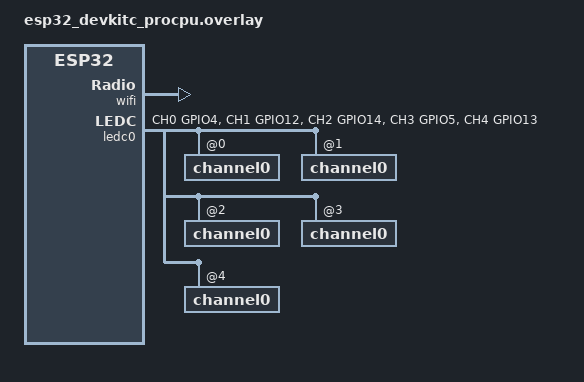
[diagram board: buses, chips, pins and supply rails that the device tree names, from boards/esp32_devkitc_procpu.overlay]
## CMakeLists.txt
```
# SPDX-License-Identifier: Apache-2.0

cmake_minimum_required(VERSION 3.20.0)

find_package(Zephyr REQUIRED HINTS $ENV{ZEPHYR_BASE})
project(hermes_light)

target_sources(app PRIVATE src/light.c)
```

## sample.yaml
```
sample:
  description: Hermes light controller sample with CoAP communication
  name: Hermes Light Controller
tests:
  sample.hermes.light:
    build_only: true
    platform_allow:
      - esp32c3_devkitm
      - esp32_devkitc/esp32/procpu
      - esp32c6_devkitc/esp32c6/hpcore
      - nucleo_f429zi
```

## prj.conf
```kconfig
# Logging
CONFIG_LOG=y
CONFIG_LOG_MAX_LEVEL=1
CONFIG_LOG_MODE_MINIMAL=n
CONFIG_BOOT_BANNER=y
CONFIG_LOG_BACKEND_UART=y

# Kernel options
CONFIG_MAIN_STACK_SIZE=2560
CONFIG_INIT_STACKS=y

CONFIG_SYSTEM_WORKQUEUE_STACK_SIZE=3072

# Network
CONFIG_NETWORKING=y
CONFIG_NET_CONFIG_SETTINGS=y

# Libraries
CONFIG_JSON_LIBRARY=y
CONFIG_COAP=y
CONFIG_COAP_CLIENT=y
CONFIG_COAP_SERVER=y

CONFIG_EVENTS=y
CONFIG_SMF=y

# Hermes
CONFIG_HERMES=y
CONFIG_LIGHT=y
CONFIG_LIGHT_SHELL=y

CONFIG_HERMES_SHELL=y

CONFIG_FLASH=y
CONFIG_FLASH_MAP=y
CONFIG_NVS=y
CONFIG_SETTINGS=y
```

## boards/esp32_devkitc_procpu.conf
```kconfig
CONFIG_WIFI=y
CONFIG_INIT_STACKS=y
CONFIG_NET_L2_WIFI_MGMT=y


CONFIG_SHELL=y
CONFIG_LOG_BACKEND_UART=n
CONFIG_NET_SHELL=y
CONFIG_NET_IPV4=y
CONFIG_NET_DHCPV4=y
CONFIG_NET_CONFIG_SETTINGS=y

CONFIG_PWM=y

#CONFIG_HEAP_MEM_POOL_SIZE=256

# Wi-Fi Configuration
CONFIG_WIFI=y

# Network Configuration
CONFIG_NET_CONFIG_AUTO_INIT=n
CONFIG_NET_CONNECTION_MANAGER=y
CONFIG_NET_DHCPV4=y
CONFIG_NET_DHCPV4_SERVER=y
CONFIG_NET_IF_MAX_IPV4_COUNT=2
CONFIG_NET_IF_MAX_IPV6_COUNT=2
CONFIG_NET_IPV4=y
CONFIG_NET_L2_ETHERNET=y
CONFIG_NET_L2_WIFI_MGMT=y
CONFIG_NET_MGMT=y
CONFIG_NET_MGMT_EVENT=y
CONFIG_NET_MGMT_EVENT_INFO=y
CONFIG_NET_MGMT_EVENT_QUEUE_SIZE=10
CONFIG_NET_MGMT_EVENT_STACK_SIZE=4096
CONFIG_NET_PKT_RX_COUNT=16
CONFIG_NET_PKT_TX_COUNT=16
CONFIG_NET_SOCKETS_SERVICE_STACK_SIZE=4096
CONFIG_NET_TCP=y
CONFIG_NET_UDP=y
CONFIG_NETWORKING=y

# LOG Configuration
CONFIG_NET_LOG=y
CONFIG_NET_DHCPV4_SERVER_LOG_LEVEL_DBG=y

CONFIG_ZVFS_EVENTFD_MAX=3
```

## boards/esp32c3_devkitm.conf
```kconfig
CONFIG_WIFI=y
CONFIG_INIT_STACKS=y
CONFIG_NET_L2_WIFI_MGMT=y


CONFIG_SHELL=y
CONFIG_LOG_BACKEND_UART=n
CONFIG_NET_SHELL=y
CONFIG_NET_IPV4=y
CONFIG_NET_DHCPV4=y
CONFIG_NET_CONFIG_SETTINGS=y

CONFIG_PWM=y

# Wi-Fi Configuration
CONFIG_WIFI=y

# Network Configuration
CONFIG_NET_CONFIG_AUTO_INIT=n
CONFIG_NET_CONNECTION_MANAGER=y
CONFIG_NET_DHCPV4=y
CONFIG_NET_DHCPV4_SERVER=y
CONFIG_NET_IF_MAX_IPV4_COUNT=2
CONFIG_NET_IF_MAX_IPV6_COUNT=2
CONFIG_NET_IPV4=y
CONFIG_NET_L2_ETHERNET=y
CONFIG_NET_L2_WIFI_MGMT=y
CONFIG_NET_MGMT=y
CONFIG_NET_MGMT_EVENT=y
CONFIG_NET_MGMT_EVENT_INFO=y
CONFIG_NET_MGMT_EVENT_QUEUE_SIZE=10
CONFIG_NET_MGMT_EVENT_STACK_SIZE=4096
CONFIG_NET_PKT_RX_COUNT=16
CONFIG_NET_PKT_TX_COUNT=16
CONFIG_NET_SOCKETS_SERVICE_STACK_SIZE=4096
CONFIG_NET_TCP=y
CONFIG_NET_UDP=y
CONFIG_NETWORKING=y

# LOG Configuration
CONFIG_NET_LOG=y
CONFIG_NET_DHCPV4_SERVER_LOG_LEVEL_DBG=y
```

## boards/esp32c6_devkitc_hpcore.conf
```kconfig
CONFIG_WIFI=y
CONFIG_INIT_STACKS=y
CONFIG_NET_L2_WIFI_MGMT=y


CONFIG_SHELL=y
CONFIG_LOG_BACKEND_UART=n
CONFIG_NET_SHELL=y
CONFIG_NET_IPV4=y
CONFIG_NET_DHCPV4=y
CONFIG_NET_CONFIG_SETTINGS=y

CONFIG_PWM=y

CONFIG_HEAP_MEM_POOL_SIZE=256

# Wi-Fi Configuration
CONFIG_WIFI=y

# Network Configuration
CONFIG_NET_CONFIG_AUTO_INIT=n
CONFIG_NET_CONNECTION_MANAGER=y
CONFIG_NET_DHCPV4=y
CONFIG_NET_DHCPV4_SERVER=y
CONFIG_NET_IF_MAX_IPV4_COUNT=2
CONFIG_NET_IF_MAX_IPV6_COUNT=2
CONFIG_NET_IPV4=y
CONFIG_NET_L2_ETHERNET=y
CONFIG_NET_L2_WIFI_MGMT=y
CONFIG_NET_MGMT=y
CONFIG_NET_MGMT_EVENT=y
CONFIG_NET_MGMT_EVENT_INFO=y
CONFIG_NET_MGMT_EVENT_QUEUE_SIZE=10
CONFIG_NET_MGMT_EVENT_STACK_SIZE=4096
CONFIG_NET_PKT_RX_COUNT=16
CONFIG_NET_PKT_TX_COUNT=16
CONFIG_NET_SOCKETS_SERVICE_STACK_SIZE=4096
CONFIG_NET_TCP=y
CONFIG_NET_UDP=y
CONFIG_NETWORKING=y

# LOG Configuration
CONFIG_NET_LOG=y
CONFIG_NET_DHCPV4_SERVER_LOG_LEVEL_DBG=y

CONFIG_ZVFS_EVENTFD_MAX=3
```

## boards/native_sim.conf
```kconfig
CONFIG_SHELL=y
CONFIG_UART_NATIVE_PTY_0_ON_STDINOUT=y

CONFIG_GPIO=y

CONFIG_NET_SHELL=y
CONFIG_NET_IPV4=y
CONFIG_NET_CONFIG_MY_IPV4_ADDR="192.0.2.1"
CONFIG_NET_CONFIG_SETTINGS=y
CONFIG_NET_CONFIG_NEED_IPV4=y
```

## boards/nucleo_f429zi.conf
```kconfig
CONFIG_SHELL=y
CONFIG_LOG_BACKEND_UART=n
CONFIG_NET_SHELL=y
CONFIG_NET_IPV4=y
CONFIG_NET_DHCPV4=y
```

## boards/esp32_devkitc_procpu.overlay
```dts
#include <zephyr/dt-bindings/pwm/pwm.h>

/ {
	pandora_device: pandora_device {
		compatible = "pandora,device";
		device-id = "pandora_light";
		heartbeat-interval = <60>;

		light1 {
			device_type = "light";
			compatible = "pandora,light-rgbct";
			pwms = <&ledc0 3 1000 PWM_POLARITY_NORMAL>,
				<&ledc0 4 1000 PWM_POLARITY_NORMAL>,
				<&ledc0 0 1000 PWM_POLARITY_NORMAL>,
				<&ledc0 1 1000 PWM_POLARITY_NORMAL>,
				<&ledc0 2 1000 PWM_POLARITY_NORMAL>;
			pwm-names = "red", "green", "blue",
				    "white_brightness", "color_temperature";
		};
	};

	discovery: discovery {
		compatible = "pandora,discovery";
		device = <&pandora_device>;
	};
};


&wifi {
	status = "okay";
};

&pinctrl {
	ledc0_default: ledc0_default {
		group1 {
			pinmux = <LEDC_CH0_GPIO4>,
				<LEDC_CH1_GPIO12>,
				<LEDC_CH2_GPIO14>,
				<LEDC_CH3_GPIO5>,
				<LEDC_CH4_GPIO13>;
			output-enable;
		};
	};
};

&ledc0 {
	pinctrl-0 = <&ledc0_default>;
	pinctrl-names = "default";
	status = "okay";
	#address-cells = <1>;
	#size-cells = <0>;
	channel0@0 {
		reg = <0x0>;
		timer = <0>;
	};
	channel0@1 {
		reg = <0x1>;
		timer = <0>;
	};
	channel0@2 {
		reg = <0x2>;
		timer = <0>;
	};
	channel0@3 {
		reg = <0x3>;
		timer = <0>;
	};
	channel0@4 {
		reg = <0x4>;
		timer = <0>;
	};
};
```

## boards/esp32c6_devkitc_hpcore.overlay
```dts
#include <zephyr/dt-bindings/pwm/pwm.h>

/ {
	pandora_device: pandora_device {
		compatible = "pandora,device";
		device-id = "pandora_light";
		heartbeat-interval = <60>;

		light1 {
			device_type = "light";
			compatible = "pandora,light-rgbct";
			pwms = <&ledc0 0 1000 PWM_POLARITY_NORMAL>,
				<&ledc0 1 1000 PWM_POLARITY_NORMAL>,
				<&ledc0 2 1000 PWM_POLARITY_NORMAL>,
				<&ledc0 3 1000 PWM_POLARITY_NORMAL>,
				<&ledc0 4 1000 PWM_POLARITY_NORMAL>;
			pwm-names = "red", "green", "blue",
				    "white_brightness", "color_temperature";
		};
	};

	discovery: discovery {
		compatible = "pandora,discovery";
		device = <&pandora_device>;
	};
};


&wifi {
	status = "okay";
};

&pinctrl {
	ledc0_default: ledc0_default {
		group1 {
			pinmux = <LEDC_CH0_GPIO4>,
				<LEDC_CH1_GPIO5>,
				<LEDC_CH2_GPIO6>,
				<LEDC_CH3_GPIO0>,
				<LEDC_CH4_GPIO13>;
			output-enable;
		};
	};
};

&ledc0 {
	pinctrl-0 = <&ledc0_default>;
	pinctrl-names = "default";
	status = "okay";
	#address-cells = <1>;
	#size-cells = <0>;
	channel0@0 {
		reg = <0x0>;
		timer = <0>;
	};
	channel0@1 {
		reg = <0x1>;
		timer = <0>;
	};
	channel0@2 {
		reg = <0x2>;
		timer = <0>;
	};
	channel0@3 {
		reg = <0x3>;
		timer = <1>;
	};
	channel0@4 {
		reg = <0x4>;
		timer = <1>;
	};
};
```

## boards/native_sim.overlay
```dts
/ {
	gpio0: gpio_emul {
		status = "okay";
		compatible = "zephyr,gpio-emul";
		rising-edge;
		falling-edge;
		high-level;
		low-level;
		gpio-controller;
		#gpio-cells = <2>;
	};

	pandora_device: pandora_device {
		compatible = "pandora,device";
		device-id = "native_sim";
		heartbeat-interval = <60>;

		light1 {
			device_type = "light";
			compatible = "pandora,light-gpio";
			gpios = <&gpio0 7 GPIO_ACTIVE_HIGH>;
		};
	};

	discovery: discovery {
		compatible = "pandora,discovery";
		device = <&pandora_device>;
	};
};
```

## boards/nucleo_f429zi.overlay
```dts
/ {
	pandora_device: pandora_device {
		compatible = "pandora,device";
		device-id = "pandora_light";
		heartbeat-interval = <60>;

		light1 {
			device_type = "light";
			compatible = "pandora,light-gpio";
			gpios = <&gpiob 7 GPIO_ACTIVE_HIGH>;
		};
	};

	discovery: discovery {
		compatible = "pandora,discovery";
		device = <&pandora_device>;
	};
};

&flash0 {
	partitions {
		/* Set 48KB of storage at the beginning of bank2 in order to have 3 sectors smaller than 32K
		 * 	(nvs.h: uint16_t sector_size)
		 */
		storage_partition: partition@100000 {
			label = "storage";
			reg = <0x000100000 DT_SIZE_K(48)>;
		};
	};
};
```

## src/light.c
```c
/*
 * SPDX-License-Identifier: Apache-2.0
 * Copyright 2025 Alexandre Bailon
 */

int main(void)
{
	return 0;
}
```
